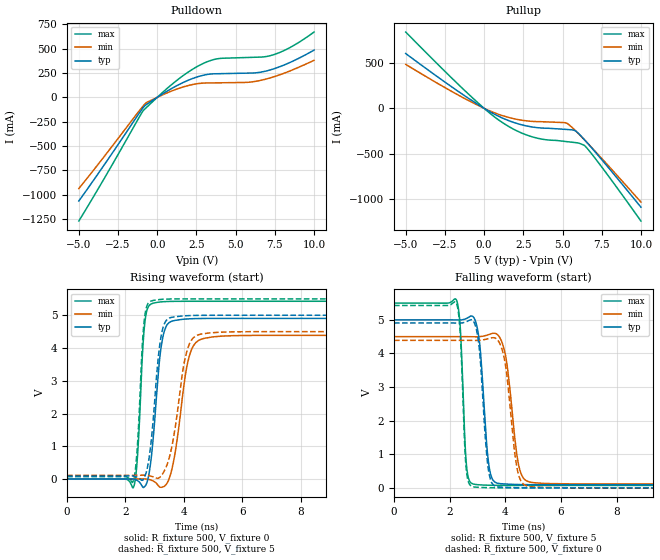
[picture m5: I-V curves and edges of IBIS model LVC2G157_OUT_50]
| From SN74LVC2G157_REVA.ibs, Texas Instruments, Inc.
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[Model]   LVC2G157_OUT_50
Model_type  Output
Vref =   0
Rref =   500
Cref =   50p
Vmeas =   2.5
| variable   typ   min   max
C_comp   8.88pF   5.48pF   12.17pF
| C_pullup   9.50pF   5.48pF   12.17pF
| C_pulldown   8.25pF   6.13pF   11.11pF
[Temperature Range]   40   100   -40
| Ambient temperature   25   85   -40
[Voltage range]   5   4.5   5.5
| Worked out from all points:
|   slope of the pulldown table from 0 to 0.75 V, typ, clamps not added: 9.95 ohm
|   slope of the pullup table from 0 to 0.75 V, typ, clamps not added: 10.3 ohm
|   rising waveform, R_fixture 500, V_fixture 0: 20-80 % time 283ps typ, 407ps min, 181ps max; typ from 0 V to 4.9 V
|   falling waveform, R_fixture 500, V_fixture 5: 20-80 % time 245ps typ, 345ps min, 159ps max; typ from 5 V to 0.093 V
|   rising waveform, R_fixture 500, V_fixture 5: 20-80 % time 293ps typ, 440ps min, 182ps max; typ from 0.093 V to 5 V
|   falling waveform, R_fixture 500, V_fixture 0: 20-80 % time 242ps typ, 334ps min, 155ps max; typ from 4.91 V to 0 V
[Pulldown]
| LVC2G157_OUT_50
|   Voltage   I(typ)   I(min)   I(max)
-5V       -1.064A    -937.1mA   -1.27A
-3.355V   -687.5mA   -602.1mA   -826.3mA
-925mV    -111.5mA   -92.93mA   -143.7mA
-620mV    -65.83mA   -48.5mA    -93.56mA
1.13V     109.8mA    78.31mA    159.2mA
2.415V    202.9mA    136.7mA    304.4mA
3.52V     241.4mA    148.6mA    384.4mA
5.67V     248.7mA    153.7mA    409.3mA
6.55V     257.8mA    173.2mA    413.7mA
7.245V    283.9mA    202mA      430mA
8.045V    329.6mA    245.5mA    478mA
10V       485.6mA    380.4mA    671.3mA
[Pullup]
| LVC2G157_OUT_50
|   Voltage   I(typ)   I(min)   I(max)
-5V       604.5mA    484.9mA    841.8mA
-1.075V   119.7mA    93.33mA    170.1mA
205mV     -21.37mA   -16.3mA    -30.84mA
1.085V    -100.6mA   -75.34mA   -147.2mA
2.055V    -164.7mA   -120mA     -245.4mA
3.025V    -204.3mA   -143.2mA   -312mA
3.86V     -218.8mA   -148.7mA   -344.2mA
5.29V     -233.1mA   -166mA     -367.5mA
5.825V    -248.5mA   -246.2mA   -378.1mA
6.49V     -363.8mA   -364.1mA   -425.3mA
7.725V    -612.1mA   -595.3mA   -698.9mA
10V       -1.09A     -1.034A    -1.243A
[Ramp]
| LVC2G157_OUT_50
| variable   typ   min   max
dV/dt_r   3.10/3.12E-10   2.78/4.40E-10   3.42/1.94E-10
dV/dt_f   3.01/2.60E-10   2.69/3.61E-10   3.33/1.65E-10
R_load = 500
[Rising Waveform]
| LVC2G157_OUT_50
R_fixture =   500
C_fixture =   0
L_fixture =   0
V_fixture =   0
V_fixture_min = 0
V_fixture_max = 0
|   Time   V(typ)   V(min)   V(max)
0s        187.4pV    4.471nV    591.1pV
2.275ns   -2.539mV   258.5uV    -248.9mV
2.41ns    -46.69mV   1.381mV    678.3mV
2.66ns    -227.1mV   4.361mV    4.753V
2.965ns   1.407V     -67.03mV   5.372V
3.18ns    3.746V     -247.6mV   5.404V
3.385ns   4.647V     -175.4mV   5.418V
4.175ns   4.89V      3.718V     5.426V
4.715ns   4.902V     4.299V     5.427V
24.99ns   4.904V     4.387V     5.427V
[Falling Waveform]
| LVC2G157_OUT_50
R_fixture =   500
C_fixture =   0
L_fixture =   0
V_fixture =   5
V_fixture_min = 4.5
V_fixture_max = 5.5
|   Time   V(typ)   V(min)   V(max)
0s        5V         4.5V       5.5V
2.245ns   4.999V     4.5V       5.592V
2.385ns   4.998V     4.5V       4.723V
2.605ns   5.043V     4.5V       665.4mV
2.85ns    5.089V     4.498V     112.2mV
3.415ns   644.2mV    4.565V     77.83mV
3.725ns   136.2mV    4.556V     74.26mV
4.48ns    99.06mV    667.1mV    72.31mV
4.87ns    95.22mV    172.5mV    72.13mV
24.99ns   92.94mV    113.9mV    72.02mV
[Rising Waveform]
| LVC2G157_OUT_50
R_fixture =   500
C_fixture =   0
L_fixture =   0
V_fixture =   5
V_fixture_min = 4.5
V_fixture_max = 5.5
|   Time   V(typ)   V(min)   V(max)
0s        92.92mV    113.9mV    72.01mV
2.255ns   93.02mV    114mV      -85.97mV
2.4ns     57.17mV    115.1mV    908.6mV
2.64ns    38.69mV    118.5mV    4.821V
2.95ns    1.828V     66.68mV    5.451V
3.15ns    3.931V     37.76mV    5.478V
3.33ns    4.735V     250mV      5.49V
4.09ns    4.986V     3.861V     5.5V
4.585ns   4.997V     4.425V     5.5V
24.99ns   5V         4.5V       5.5V
[Falling Waveform]
| LVC2G157_OUT_50
R_fixture =   500
C_fixture =   0
L_fixture =   0
V_fixture =   0
V_fixture_min = 0
V_fixture_max = 0
|   Time   V(typ)   V(min)   V(max)
0s        4.907V     4.391V     5.429V
2.245ns   4.906V     4.391V     5.495V
2.38ns    4.905V     4.391V     4.606V
2.59ns    4.942V     4.391V     610.3mV
2.845ns   4.971V     4.389V     30.29mV
3.065ns   4.133V     4.392V     14.74mV
3.385ns   574mV      4.44V      5.278mV
3.675ns   36.74mV    4.439V     2.179mV
4.785ns   2.047mV    51.21mV    133.9uV
24.99ns   15.26uV    23.65uV    11.15uV
